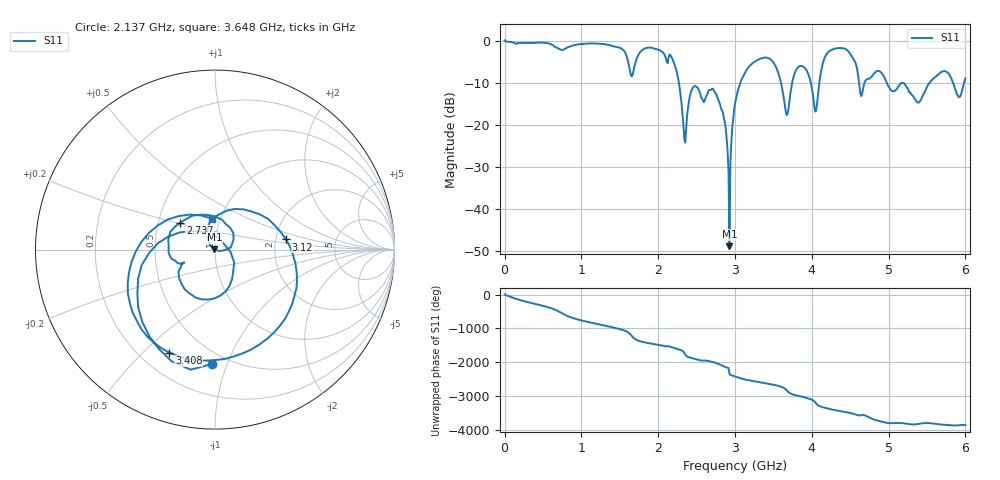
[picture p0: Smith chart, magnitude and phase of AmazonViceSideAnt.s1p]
# Hz S RI R 50
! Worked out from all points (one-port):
!   501 points, 1 MHz to 6 GHz, reference 50 ohm
!   lowest |S11| = -48.9 dB at 2.929 GHz (marker M1), VSWR 1.01, Z = 49.6 + j0.0567 ohm
!   |S11| at or under -10 dB: 2.269 GHz to 3.072 GHz (802.3 MHz wide, 30 % of centre); 3.599 GHz to 3.745 GHz (146.2 MHz wide, 3.98 % of centre); 4.976 GHz to 5.536 GHz (560.4 MHz wide, 10.7 % of centre)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
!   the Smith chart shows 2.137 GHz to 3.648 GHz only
!   S11 on the Smith chart (normalised r, x): 2.137 GHz: 0.41, -0.89; 2.737 GHz: 0.65, +0.21; 3.12 GHz: 2.28, +0.31; 3.408 GHz: 0.32, -0.60; 3.648 GHz: 0.92, +0.33
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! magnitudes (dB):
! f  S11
! 1 MHz  0.0
! 756.9 MHz  -2.2
! 1.501 GHz  -1.7
! 1.657 GHz  -8.5
! 1.825 GHz  -1.9
! 2.137 GHz  -3.9
! 2.257 GHz  -8.8
! 2.341 GHz  -23.4
! 2.461 GHz  -11.0
! 2.737 GHz  -12.2
! 2.857 GHz  -18.6
! 2.929 GHz  -48.9
! 3.001 GHz  -15.0
! 3.12 GHz  -8.0
! 3.408 GHz  -4.0
! 3.552 GHz  -7.1
! 3.648 GHz  -15.2
! 3.756 GHz  -9.1
! 3.912 GHz  -6.6
! 4.044 GHz  -16.9
! 4.2 GHz  -3.0
! 4.5 GHz  -3.1
! 4.644 GHz  -13.2
! 4.86 GHz  -7.2
! 5.256 GHz  -11.7
! 5.736 GHz  -7.3
! 5.916 GHz  -13.5
! 6 GHz  -9.0
